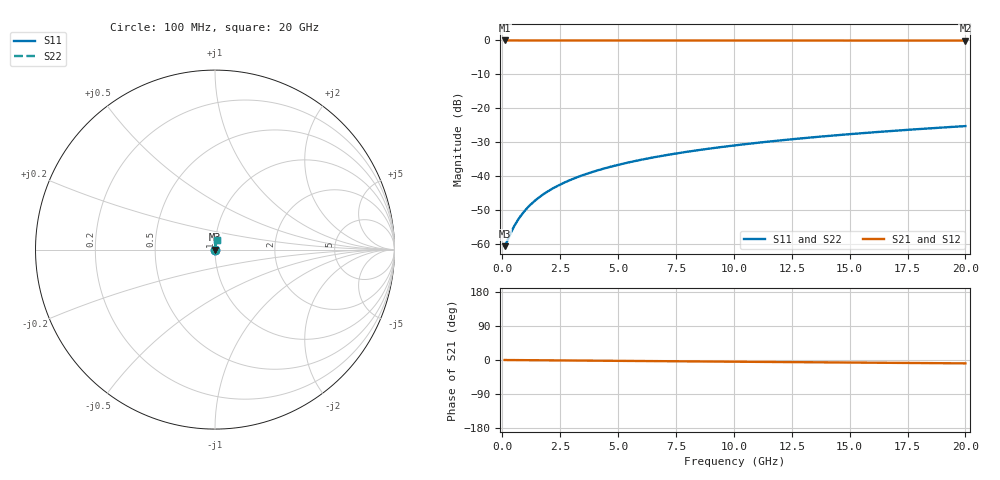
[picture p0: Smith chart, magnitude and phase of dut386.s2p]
! Touchstone file exported from HFSS 2026.1.0
!  File:  C:/ffzhzh/LocalFiles/Ansys_Project_Files/temp_train_TSV_386_1783019909_4048.aedt
!  Generated:  03:20:59 AM Jul  3, 2026
!  Design:  TSV
!  Project:  temp_train_TSV_386_1783019909_4048
! Variables:
!  h_bsmrdl = 2um
!  h_ox = 20um
!  h_rdl = 5um
!  h_sub = 88.41um
!  h_tmrdl = 5um
!  h_tsv = 88.41um
!  h_via = 3um
!  l_bsmrdl = 300um
!  l_sub = 406.96um
!  l_tmrdl = 200um
!  m_sub = 200um
!  pitch = 24.43um
!  r_tsv = 3.48um
!  s_tmrdl = 10um
!  w_bsmrdl = 18um
!  w_sub = 500um
!  w_tmrdl = 12um
!  x_tsv_center1 = 206um
!  x_tsv_center2 = 524um
!  x_tsv_center3 = 736um
!  x_tsv_center4 = 1054um
!  x_tsv_center5 = 1266um
!  x_tsv_center6 = 1584um
# GHz S MA R 50.000000
! Terminal data exported
! Port[1] = TSV1_1_T1
! Port[2] = TSV1_1_T2
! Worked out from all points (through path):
!   200 points, 100 MHz to 20 GHz, reference 50 ohm
!   highest |S21| = -0.01 dB at 100 MHz (marker M1); lowest = 0.0 dB at 20 GHz (marker M2)
!   group delay of S21, straight-line fit = 1.23 ps
!   lowest |S11| = -60.8 dB at 100 MHz (marker M3), VSWR 1.00, Z = 50.1 + j0.0314 ohm
!   |S11| at or under -10 dB: start of sweep to end of sweep
!   |S22| runs from -60.8 to -25.3 dB; largest |S21 - S12| = 2.2e-15
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0.1  0.0009156 20.0  0.9991 -0.0  0.9991 -0.0  0.0009156 20.0
! Gamma 0 0 0 0
! Port Impedance 50 0 50 0
0.2  0.001072 35.5  0.9991 -0.1  0.9991 -0.1  0.001072 35.5
0.4  0.001517 53.5  0.9991 -0.2  0.9991 -0.2  0.001517 53.5
0.5  0.001769 58.8  0.9991 -0.2  0.9991 -0.2  0.001769 58.8
0.7  0.002299 65.9  0.9991 -0.3  0.9991 -0.3  0.002299 65.9
0.8  0.002573 68.3  0.9991 -0.4  0.9991 -0.4  0.002573 68.3
1  0.003131 71.8  0.999 -0.5  0.999 -0.5  0.003131 71.8
1.3  0.003984 75.2  0.999 -0.6  0.999 -0.6  0.003984 75.2
1.7  0.005134 77.8  0.999 -0.8  0.999 -0.8  0.005134 77.8
2.2  0.006577 79.6  0.9989 -1.0  0.9989 -1.0  0.006577 79.6
2.8  0.008306 80.7  0.9988 -1.3  0.9988 -1.3  0.008306 80.7
3.5  0.01031 81.3  0.9987 -1.6  0.9987 -1.6  0.01031 81.3
4.2  0.01229 81.6  0.9985 -1.9  0.9985 -1.9  0.01229 81.6
5  0.01453 81.7  0.9984 -2.3  0.9984 -2.3  0.01453 81.7
5.9  0.01702 81.6  0.9982 -2.7  0.9982 -2.7  0.01702 81.6
6.8  0.01949 81.5  0.998 -3.1  0.998 -3.1  0.01949 81.5
8.3  0.02354 81.2  0.9976 -3.7  0.9976 -3.7  0.02354 81.2
10.1  0.02836 80.7  0.9973 -4.5  0.9973 -4.5  0.02836 80.7
11.7  0.0326 80.3  0.9969 -5.2  0.9969 -5.2  0.0326 80.3
13.4  0.03709 79.8  0.9966 -6.0  0.9966 -6.0  0.03709 79.8
16.7  0.04574 78.8  0.9959 -7.4  0.9959 -7.4  0.04574 78.8
20  0.05433 77.6  0.9952 -8.9  0.9952 -8.9  0.05433 77.6
